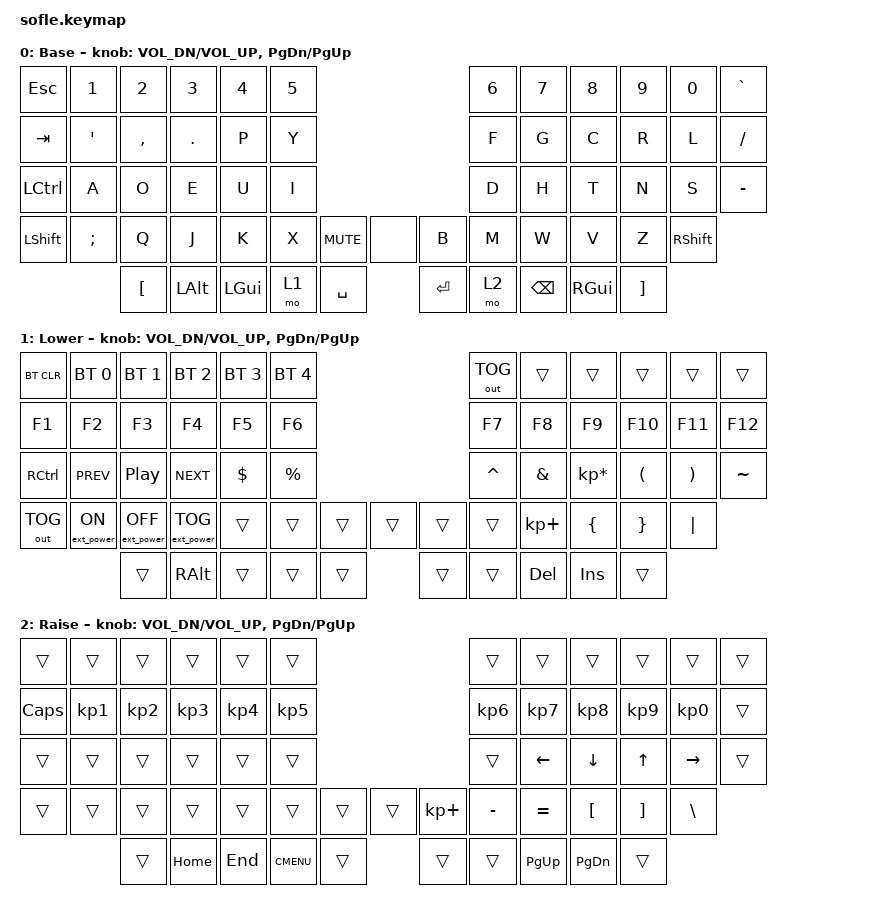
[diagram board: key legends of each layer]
/*
 * Copyright (c) 2020 The ZMK Contributors
 *
 * SPDX-License-Identifier: MIT
 */

#include <behaviors.dtsi>
#include <dt-bindings/zmk/keys.h>
#include <dt-bindings/zmk/bt.h>
#include <dt-bindings/zmk/ext_power.h>
#include <dt-bindings/zmk/rgb.h>
#include <dt-bindings/zmk/outputs.h>

/ {
    keymap {
        compatible = "zmk,keymap";

        default_layer {
// ------------------------------------------------------------------------------------------------------------
// |  ESC  |  1  |  2  |  3  |  4  |  5  |                    |  6  |  7   |  8   |  9  |  0  |   `   |
// |  TAB  |  '  |  ,  |  .  |  P  |  Y  |                    |  F  |  G   |  C   |  R  |  L  |   /   |
// | LCTRL |  A  |  O  |  E  |  U  |  I  |                    |  D  |  H   |  T   |  N  |  S  |   -   |
// | SHIFT |  Z  |  X  |  C  |  V  |  B   |  MUTE  |  |       |  N  |  M   |  ,   |  .  |  /  | SHIFT |
//               | "[" | ALT | GUI | LOWER|  SPACE |  | ENTER | RAISE| BSPC | GUI | "]" |
            label = "Base";
            bindings = <
&kp ESC   &kp N1    &kp N2     &kp N3   &kp N4   &kp N5                     &kp N6 &kp N7    &kp N8 &kp N9 &kp N0 &kp GRAVE
&kp TAB   &kp SQT   &kp COMMA  &kp DOT  &kp P    &kp Y             	        &kp F  &kp G     &kp C  &kp R  &kp L  &kp FSLH
&kp LCTRL &kp A     &kp O      &kp E    &kp U    &kp I                      &kp D  &kp H     &kp T  &kp N  &kp S  &kp MINUS
&kp LSHFT &kp SEMI  &kp Q      &kp J    &kp K    &kp X  &kp C_MUTE &none    &kp B  &kp M &kp W  &kp V  &kp Z  &kp RSHFT
                &kp LBKT &kp LALT &kp LGUI &mo 1  &kp SPACE             &kp RET &mo 2  &kp BSPC &kp RGUI &kp RBKT 
            >;

            sensor-bindings = <&inc_dec_kp C_VOL_DN C_VOL_UP &inc_dec_kp PG_DN PG_UP>;
        };

        lower_layer {
// TODO: Some binds are waiting for shifted keycode support.
// ------------------------------------------------------------------------------------------------------------
// | BTCLR | BT1  | BT2  |  BT3 |  BT4 |  BT5 |                 |OUT TOGGLE|	 	|		 |       |      |       |
// |  F1   |  F2  |  F3  |  F4  |  F5  |  F6  |                 |    F7    |   F8   |  F9    |  F10  |  F11 |  F12  |
// | RCTRL |C_PREV|C_PP  |C_NEXT|  $   |  %   |                 |    ^     |   &    |  *     |  (    |   )  |   ~   |
// |       |EP_ON |EP_OFF|EP_TOG|      |      |       |  |      |          |        |  +     |  {    |   }  |  "|"  |
//                |      | RALT |      |      |       |  |      |          |   DEL  |INSERT  |      |
            label = "Lower";
            bindings = <
&bt BT_CLR &bt BT_SEL 0	&bt BT_SEL 1 &bt BT_SEL 2 &bt BT_SEL 3 &bt BT_SEL 4	      &out OUT_TOG  &trans  &trans &trans  &trans  &trans
&kp F1 &kp F2 &kp F3 &kp F4 &kp F5 &kp F6        &kp F7 &kp F8 &kp F9 &kp F10 &kp F11 &kp F12
&kp RCTRL &kp C_PREV &kp C_PP &kp C_NEXT &kp DOLLAR &kp PRCNT       &kp CARET &kp AMPS &kp KP_MULTIPLY &kp LPAR &kp RPAR &kp TILDE
&out OUT_TOG &ext_power EP_ON &ext_power EP_OFF &ext_power EP_TOG &trans &trans &trans &trans      	&trans &trans &kp KP_PLUS &kp LBRC &kp RBRC &kp PIPE 
                    &trans    &kp RALT      &trans    &trans    &trans   &trans &trans    &kp DEL &kp INSERT          &trans
            >;

            sensor-bindings = <&inc_dec_kp C_VOL_DN C_VOL_UP &inc_dec_kp PG_DN PG_UP>;
        };

        raise_layer {
// ------------------------------------------------------------------------------------------------------------
// |     |      |      |     |     |       |           		    |     |      |      |       |       |       |
// |CAPS |   1  |  2   |  3  |  4  |  5    |                    |  6  |   7  |   8  |  9    |   0   |       |
// |     | 	    |      |     |     |       |                    |     |   <- |   ^  |  v    |  ->   |       |
// |     | UNDO | CUT  | COPY  | PASTE |      |      |  |      |      |      |       |      |       |       |
//              |      |       |       |      |      |  |      |      |      |       |      |
            label = "Raise";
            bindings = <
&trans &trans &trans &trans &trans &trans          				&trans  &trans  &trans &trans   &trans    &trans
&kp CAPS &kp KP_N1 &kp KP_N2 &kp KP_N3 &kp KP_N4 &kp KP_N5		&kp KP_N6 &kp KP_N7 &kp KP_N8 &kp KP_N9 &kp KP_N0 &trans
&trans &trans &trans &trans  &trans  &trans 					&trans &kp LEFT &kp DOWN &kp UP &kp RIGHT &trans
&trans &trans &trans &trans &trans &trans &trans         &trans &kp KP_PLUS &kp MINUS &kp EQUAL &kp LBKT &kp RBKT &kp BSLH
                        &trans   &kp HOME &kp END &kp K_CMENU &trans         	&trans &trans &kp PG_UP &kp PG_DN   &trans
            >;

            sensor-bindings = <&inc_dec_kp C_VOL_DN C_VOL_UP &inc_dec_kp PG_DN PG_UP>;
        };
    };
};

